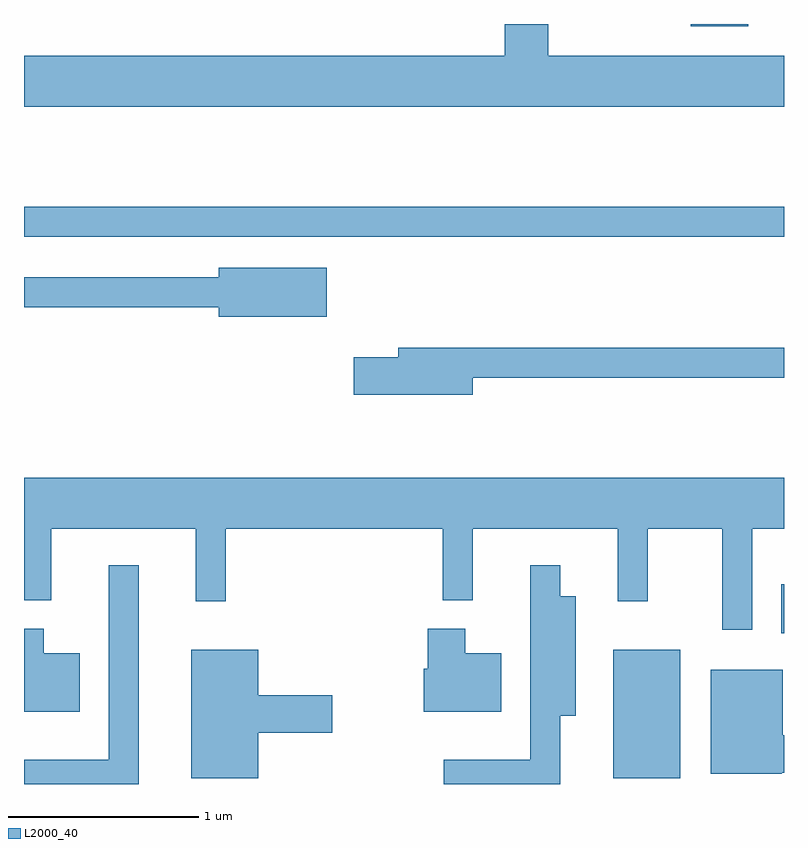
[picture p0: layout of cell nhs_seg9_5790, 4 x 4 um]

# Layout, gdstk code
import gdstk
lib = gdstk.Library(unit=1e-6, precision=1e-09)
def R(c, l, rs):  # rectangles x0, y0, x1, y1
    for r in rs: c.add(gdstk.rectangle(r[:2], r[2:], *l))
def P(c, l, *ps):  # polygons
    for p in ps: c.add(gdstk.Polygon(p, *l))
L2000_40 = (2000, 40)

nhs_seg9_5790 = lib.new_cell('nhs_seg9_5790')
R(nhs_seg9_5790, L2000_40, [(358.711,2030.461,359.064,2031.139), (359.596,2031.226,359.611,2031.484), (355.611,2033.311,359.611,2033.469), (359.121,2034.421,359.424,2034.432)])
P(nhs_seg9_5790, L2000_40, [(359.611,2034.264),(358.369,2034.264),(358.369,2034.432),(358.141,2034.432),(358.141,2034.264),(355.611,2034.264),(355.611,2033.996),(359.611,2033.996)],
  [(357.204,2033.149),(356.636,2033.149),(356.636,2033.099),(355.611,2033.099),(355.611,2032.941),(356.636,2032.941),(356.636,2032.891),(357.204,2032.891)],
  [(357.974,2032.571),(359.611,2032.571),(359.611,2032.729),(357.581,2032.729),(357.581,2032.679),(357.346,2032.679),(357.346,2032.481),(357.974,2032.481)],
  [(359.444,2031.776),(359.611,2031.776),(359.611,2032.044),(355.611,2032.044),(355.611,2031.398),(355.754,2031.398),(355.754,2031.776),(356.516,2031.776),(356.516,2031.393),(356.674,2031.393),(356.674,2031.776),(357.816,2031.776),(357.816,2031.398),(357.974,2031.398),(357.974,2031.776),(358.736,2031.776),(358.736,2031.393),(358.894,2031.393),(358.894,2031.776),(359.286,2031.776),(359.286,2031.243),(359.444,2031.243)],
  [(356.214,2031.583),(356.056,2031.583),(356.056,2030.559),(355.611,2030.559),(355.611,2030.432),(356.214,2030.432)],
  [(358.434,2030.791),(358.514,2030.791),(358.514,2031.419),(358.434,2031.419),(358.434,2031.583),(358.276,2031.583),(358.276,2030.559),(357.821,2030.559),(357.821,2030.432),(358.434,2030.432)],
  [(355.904,2031.119),(355.714,2031.119),(355.714,2031.249),(355.611,2031.249),(355.611,2030.811),(355.904,2030.811)],
  [(358.124,2031.119),(357.934,2031.119),(357.934,2031.249),(357.736,2031.249),(357.736,2031.039),(357.716,2031.039),(357.716,2030.811),(358.124,2030.811)],
  [(356.844,2030.701),(357.234,2030.701),(357.234,2030.899),(356.844,2030.899),(356.844,2031.139),(356.491,2031.139),(356.491,2030.461),(356.844,2030.461)],
  [(359.6,2030.491),(359.611,2030.491),(359.611,2030.689),(359.604,2030.689),(359.604,2031.034),(359.226,2031.034),(359.226,2030.486),(359.6,2030.486)])

lib.write_gds('nhs_seg9_5790.gds')
